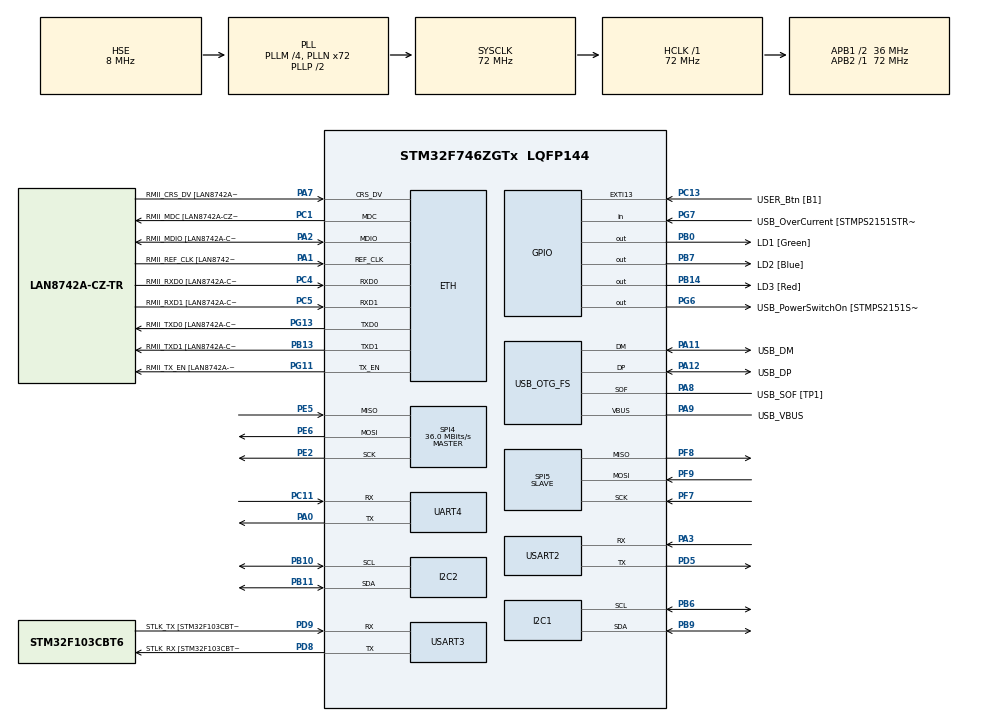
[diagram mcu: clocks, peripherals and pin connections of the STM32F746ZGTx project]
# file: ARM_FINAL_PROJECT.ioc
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Dma.I2C1_TX.0.Direction=DMA_MEMORY_TO_PERIPH
Dma.I2C1_TX.0.FIFOMode=DMA_FIFOMODE_DISABLE
Dma.I2C1_TX.0.Instance=DMA1_Stream7
Dma.I2C1_TX.0.MemDataAlignment=DMA_MDATAALIGN_BYTE
Dma.I2C1_TX.0.MemInc=DMA_MINC_ENABLE
Dma.I2C1_TX.0.Mode=DMA_NORMAL
Dma.I2C1_TX.0.PeriphDataAlignment=DMA_PDATAALIGN_BYTE
Dma.I2C1_TX.0.PeriphInc=DMA_PINC_DISABLE
Dma.I2C1_TX.0.Priority=DMA_PRIORITY_LOW
Dma.I2C2_RX.1.Direction=DMA_PERIPH_TO_MEMORY
Dma.I2C2_RX.1.FIFOMode=DMA_FIFOMODE_DISABLE
Dma.I2C2_RX.1.Instance=DMA1_Stream3
Dma.I2C2_RX.1.MemDataAlignment=DMA_MDATAALIGN_BYTE
Dma.I2C2_RX.1.MemInc=DMA_MINC_ENABLE
Dma.I2C2_RX.1.Mode=DMA_NORMAL
Dma.I2C2_RX.1.PeriphDataAlignment=DMA_PDATAALIGN_BYTE
Dma.I2C2_RX.1.PeriphInc=DMA_PINC_DISABLE
Dma.I2C2_RX.1.Priority=DMA_PRIORITY_LOW
Dma.Request0=I2C1_TX
Dma.Request1=I2C2_RX
Dma.Request2=SPI4_TX
Dma.Request3=SPI5_RX
Dma.Request4=UART4_RX
Dma.Request5=USART2_TX
Dma.SPI4_TX.2.Direction=DMA_MEMORY_TO_PERIPH
Dma.SPI4_TX.2.FIFOMode=DMA_FIFOMODE_DISABLE
Dma.SPI4_TX.2.Instance=DMA2_Stream1
Dma.SPI4_TX.2.MemDataAlignment=DMA_MDATAALIGN_BYTE
Dma.SPI4_TX.2.MemInc=DMA_MINC_ENABLE
Dma.SPI4_TX.2.Mode=DMA_NORMAL
Dma.SPI4_TX.2.PeriphDataAlignment=DMA_PDATAALIGN_BYTE
Dma.SPI4_TX.2.PeriphInc=DMA_PINC_DISABLE
Dma.SPI4_TX.2.Priority=DMA_PRIORITY_LOW
Dma.SPI5_RX.3.Direction=DMA_PERIPH_TO_MEMORY
Dma.SPI5_RX.3.FIFOMode=DMA_FIFOMODE_DISABLE
Dma.SPI5_RX.3.Instance=DMA2_Stream3
Dma.SPI5_RX.3.MemDataAlignment=DMA_MDATAALIGN_BYTE
Dma.SPI5_RX.3.MemInc=DMA_MINC_ENABLE
Dma.SPI5_RX.3.Mode=DMA_NORMAL
Dma.SPI5_RX.3.PeriphDataAlignment=DMA_PDATAALIGN_BYTE
Dma.SPI5_RX.3.PeriphInc=DMA_PINC_DISABLE
Dma.SPI5_RX.3.Priority=DMA_PRIORITY_LOW
Dma.UART4_RX.4.Direction=DMA_PERIPH_TO_MEMORY
Dma.UART4_RX.4.FIFOMode=DMA_FIFOMODE_DISABLE
Dma.UART4_RX.4.Instance=DMA1_Stream2
Dma.UART4_RX.4.MemDataAlignment=DMA_MDATAALIGN_BYTE
Dma.UART4_RX.4.MemInc=DMA_MINC_ENABLE
Dma.UART4_RX.4.Mode=DMA_NORMAL
Dma.UART4_RX.4.PeriphDataAlignment=DMA_PDATAALIGN_BYTE
Dma.UART4_RX.4.PeriphInc=DMA_PINC_DISABLE
Dma.UART4_RX.4.Priority=DMA_PRIORITY_LOW
Dma.USART2_TX.5.Direction=DMA_MEMORY_TO_PERIPH
Dma.USART2_TX.5.FIFOMode=DMA_FIFOMODE_DISABLE
Dma.USART2_TX.5.Instance=DMA1_Stream6
Dma.USART2_TX.5.MemDataAlignment=DMA_MDATAALIGN_BYTE
Dma.USART2_TX.5.MemInc=DMA_MINC_ENABLE
Dma.USART2_TX.5.Mode=DMA_NORMAL
Dma.USART2_TX.5.PeriphDataAlignment=DMA_PDATAALIGN_BYTE
Dma.USART2_TX.5.PeriphInc=DMA_PINC_DISABLE
Dma.USART2_TX.5.Priority=DMA_PRIORITY_LOW
ETH.MediaInterface=ETH_MEDIA_INTERFACE_RMII
ETH.PHY_Name=LAN8742A_PHY_ADDRESS
ETH.PHY_Value=0
ETH.PhyAddress=0
I2C1.Timing=0x00808CD2
I2C2.Timing=0x00808CD2
LWIP.GATEWAY_ADDRESS=192.168.001.001
LWIP.IP_ADDRESS=192.168.001.111
LWIP.LWIP_DHCP=0
LWIP.NETMASK_ADDRESS=255.255.255.000
LWIP.Version=v2.1.2_Cube
Mcu.Family=STM32F7
Mcu.Name=STM32F746ZGTx
Mcu.Package=LQFP144
NVIC.DMA1_Stream2_IRQn=true\:0\:0\:false\:false\:true\:false\:true
NVIC.DMA1_Stream3_IRQn=true\:0\:0\:false\:false\:true\:false\:true
NVIC.DMA1_Stream6_IRQn=true\:0\:0\:false\:false\:true\:false\:true
NVIC.DMA1_Stream7_IRQn=true\:0\:0\:false\:false\:true\:false\:true
NVIC.DMA2_Stream1_IRQn=true\:0\:0\:false\:false\:true\:false\:true
NVIC.DMA2_Stream3_IRQn=true\:0\:0\:false\:false\:true\:false\:true
NVIC.ETH_IRQn=true\:0\:0\:false\:false\:true\:true\:true
NVIC.I2C2_EV_IRQn=true\:0\:0\:false\:false\:true\:true\:true
NVIC.PriorityGroup=NVIC_PRIORITYGROUP_4
NVIC.SPI5_IRQn=true\:0\:0\:false\:false\:true\:true\:true
NVIC.UART4_IRQn=true\:0\:0\:false\:false\:true\:true\:true
PA0/WKUP.Mode=Asynchronous
PA0/WKUP.Signal=UART4_TX
PA1.GPIO_Label=RMII_REF_CLK [LAN8742A-CZ-TR_REFCLK0]
PA1.Mode=RMII
PA1.Signal=ETH_REF_CLK
PA10.GPIO_Label=USB_ID
PA10.Signal=USB_OTG_FS_ID
PA11.GPIO_Label=USB_DM
PA11.Mode=Device_Only
PA11.Signal=USB_OTG_FS_DM
PA12.GPIO_Label=USB_DP
PA12.Mode=Device_Only
PA12.Signal=USB_OTG_FS_DP
PA13.GPIO_Label=TMS
PA13.Mode=Serial_Wire
PA13.Signal=SYS_JTMS-SWDIO
PA14.GPIO_Label=TCK
PA14.Mode=Serial_Wire
PA14.Signal=SYS_JTCK-SWCLK
PA2.GPIO_Label=RMII_MDIO [LAN8742A-CZ-TR_MDIO]
PA2.Mode=RMII
PA2.Signal=ETH_MDIO
PA3.Mode=Asynchronous
PA3.Signal=USART2_RX
PA7.GPIO_Label=RMII_CRS_DV [LAN8742A-CZ-TR_CRS_DV]
PA7.Mode=RMII
PA7.Signal=ETH_CRS_DV
PA8.GPIO_Label=USB_SOF [TP1]
PA8.Mode=Activate_SOF_FS
PA8.Signal=USB_OTG_FS_SOF
PA9.GPIO_Label=USB_VBUS
PA9.Mode=Activate_VBUS
PA9.Signal=USB_OTG_FS_VBUS
PB0.GPIO_Label=LD1 [Green]
PB0.Signal=GPIO_Output
PB10.Mode=I2C
PB10.Signal=I2C2_SCL
PB11.Mode=I2C
PB11.Signal=I2C2_SDA
PB13.GPIO_Label=RMII_TXD1 [LAN8742A-CZ-TR_TXD1]
PB13.Mode=RMII
PB13.Signal=ETH_TXD1
PB14.GPIO_Label=LD3 [Red]
PB14.Signal=GPIO_Output
PB3.GPIO_Label=SW0
PB3.Signal=SYS_JTDO-SWO
PB6.Mode=I2C
PB6.Signal=I2C1_SCL
PB7.GPIO_Label=LD2 [Blue]
PB7.Signal=GPIO_Output
PB9.Mode=I2C
PB9.Signal=I2C1_SDA
PC1.GPIO_Label=RMII_MDC [LAN8742A-CZ-TR_MDC]
PC1.Mode=RMII
PC1.Signal=ETH_MDC
PC11.Mode=Asynchronous
PC11.Signal=UART4_RX
PC13.GPIO_Label=USER_Btn [B1]
PC13.Signal=GPXTI13
PC14/OSC32_IN.Mode=LSE-External-Oscillator
PC14/OSC32_IN.Signal=RCC_OSC32_IN
PC15/OSC32_OUT.Mode=LSE-External-Oscillator
PC15/OSC32_OUT.Signal=RCC_OSC32_OUT
PC4.GPIO_Label=RMII_RXD0 [LAN8742A-CZ-TR_RXD0]
PC4.Mode=RMII
PC4.Signal=ETH_RXD0
PC5.GPIO_Label=RMII_RXD1 [LAN8742A-CZ-TR_RXD1]
PC5.Mode=RMII
PC5.Signal=ETH_RXD1
PD5.Mode=Asynchronous
PD5.Signal=USART2_TX
PD8.GPIO_Label=STLK_RX [STM32F103CBT6_PA3]
PD8.Mode=Asynchronous
PD8.Signal=USART3_TX
PD9.GPIO_Label=STLK_TX [STM32F103CBT6_PA2]
PD9.Mode=Asynchronous
PD9.Signal=USART3_RX
PE2.Mode=Full_Duplex_Master
PE2.Signal=SPI4_SCK
PE5.Mode=Full_Duplex_Master
PE5.Signal=SPI4_MISO
PE6.Mode=Full_Duplex_Master
PE6.Signal=SPI4_MOSI
PF7.Mode=Full_Duplex_Slave
PF7.Signal=SPI5_SCK
PF8.Mode=Full_Duplex_Slave
PF8.Signal=SPI5_MISO
PF9.Mode=Full_Duplex_Slave
PF9.Signal=SPI5_MOSI
PG11.GPIO_Label=RMII_TX_EN [LAN8742A-CZ-TR_TXEN]
PG11.Mode=RMII
PG11.Signal=ETH_TX_EN
PG13.GPIO_Label=RMII_TXD0 [LAN8742A-CZ-TR_TXD0]
PG13.Mode=RMII
PG13.Signal=ETH_TXD0
PG6.GPIO_Label=USB_PowerSwitchOn [STMPS2151STR_EN]
PG6.Signal=GPIO_Output
PG7.GPIO_Label=USB_OverCurrent [STMPS2151STR_FAULT]
PG7.Signal=GPIO_Input
PH0/OSC_IN.GPIO_Label=MCO [STM32F103CBT6_PA8]
PH0/OSC_IN.Mode=HSE-External-Clock-Source
PH0/OSC_IN.Signal=RCC_OSC_IN
PH1/OSC_OUT.Mode=HSE-External-Clock-Source
PH1/OSC_OUT.Signal=RCC_OSC_OUT
ProjectManager.HeapSize=0x200
ProjectManager.StackSize=0x400
ProjectManager.TargetToolchain=STM32CubeIDE
RCC.48MHZClocksFreq_Value=24000000
RCC.AHBFreq_Value=72000000
RCC.APB1CLKDivider=RCC_HCLK_DIV2
RCC.APB1Freq_Value=36000000
RCC.APB1TimFreq_Value=72000000
RCC.APB2Freq_Value=72000000
RCC.APB2TimFreq_Value=72000000
RCC.CortexFreq_Value=72000000
RCC.HCLKFreq_Value=72000000
RCC.HSE_VALUE=8000000
RCC.HSI_VALUE=16000000
RCC.PLLM=4
RCC.PLLMUL=RCC_PLL_MUL9
RCC.PLLN=72
RCC.PLLQ=3
RCC.PRESCALERUSB=RCC_USBCLKSOURCE_PLL_DIV1_5
RCC.SYSCLKFreq_VALUE=72000000
RCC.SYSCLKSource=RCC_SYSCLKSOURCE_PLLCLK
RCC.SYSCLKSourceVirtual=RCC_SYSCLKSOURCE_PLLCLK
RCC.USBFreq_Value=48000000
RCC.VCOOutputFreq_Value=144000000
SPI4.CLKPolarity=SPI_POLARITY_HIGH
SPI4.CalculateBaudRate=36.0 MBits/s
SPI4.DataSize=SPI_DATASIZE_8BIT
SPI4.Direction=SPI_DIRECTION_2LINES
SPI4.Mode=SPI_MODE_MASTER
SPI4.VirtualType=VM_MASTER
SPI5.CLKPolarity=SPI_POLARITY_HIGH
SPI5.DataSize=SPI_DATASIZE_8BIT
SPI5.Direction=SPI_DIRECTION_2LINES
SPI5.Mode=SPI_MODE_SLAVE
SPI5.VirtualType=VM_SLAVE
USART2.VirtualMode-Asynchronous=VM_ASYNC
USART3.VirtualMode-Asynchronous=VM_ASYNC
USB_OTG_FS.VirtualMode=Device_Only
VP_LWIP_VS_Enabled.Mode=Enabled
board=NUCLEO-F746ZG

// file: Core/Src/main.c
/* USER CODE BEGIN Header */
/**
  ******************************************************************************
  * @file           : main.c
  * @brief          : Main program body
  ******************************************************************************
  * @attention
  *
  * <h2><center>&copy; Copyright (c) 2021 STMicroelectronics.
  * All rights reserved.</center></h2>
  *
  * This software component is licensed by ST under Ultimate Liberty license
  * SLA0044, the "License"; You may not use this file except in compliance with
  * the License. You may obtain a copy of the License at:
  *                             www.st.com/SLA0044
  *
  ******************************************************************************
  */
/* USER CODE END Header */
#include "main.h"
#include "lwip.h"

/* USER CODE BEGIN Includes */
#include "udp.h"
#include "ip_addr.h"
#include <stdio.h>
#include <string.h>
#include <inttypes.h>

#define PORT_NUM 50000
#define BUFFER_MAX_SIZE 20

typedef struct Recv_Packet
{
	uint16_t data_size;
	uint8_t message_id;
	uint8_t spare;
	uint8_t data_buffer[BUFFER_MAX_SIZE];
}Recv_Packet;

extern struct netif gnetif;
struct udp_pcb *conn;
ip_addr_t host_addr;

//Default value
char del[]=";";

struct pbuf *send_packet_uart4;
struct pbuf *send_packet_i2c;
struct pbuf *send_packet_spi;

uint8_t shared_buffer_uart[BUFFER_MAX_SIZE];
uint8_t shared_buffer_i2c[BUFFER_MAX_SIZE];
uint8_t shared_buffer_spi[BUFFER_MAX_SIZE];

uint8_t is_message=0;

uint8_t uart_callback=0;
uint8_t i2c_callback=0;
uint8_t spi_callback=0;

uint8_t is_uart=0;
uint8_t is_i2c=0;
uint8_t is_spi=0;

/* USER CODE END Includes */

I2C_HandleTypeDef hi2c1;
I2C_HandleTypeDef hi2c2;
DMA_HandleTypeDef hdma_i2c1_tx;
DMA_HandleTypeDef hdma_i2c2_rx;

SPI_HandleTypeDef hspi4;
SPI_HandleTypeDef hspi5;
DMA_HandleTypeDef hdma_spi4_tx;
DMA_HandleTypeDef hdma_spi5_rx;

UART_HandleTypeDef huart4;
UART_HandleTypeDef huart2;
UART_HandleTypeDef huart3;
DMA_HandleTypeDef hdma_uart4_rx;
DMA_HandleTypeDef hdma_usart2_tx;

PCD_HandleTypeDef hpcd_USB_OTG_FS;

void SystemClock_Config(void);
static void MX_GPIO_Init(void);
static void MX_DMA_Init(void);
static void MX_I2C1_Init(void);
static void MX_USART3_UART_Init(void);
static void MX_USB_OTG_FS_PCD_Init(void);
static void MX_I2C2_Init(void);
static void MX_SPI4_Init(void);
static void MX_SPI5_Init(void);
static void MX_UART4_Init(void);
static void MX_USART2_UART_Init(void);
/* USER CODE BEGIN PFP */
static void udp_echoserver_recv(void *arg, struct udp_pcb *upcb, struct pbuf *p,const ip_addr_t *addr, u16_t port);
/* USER CODE END PFP */

/* USER CODE BEGIN 0 */
int __io_putchar(int ch)
{
	HAL_UART_Transmit(&huart3, (uint8_t *)&ch, 1, 0xFFFF);
	return ch;
}
/* USER CODE END 0 */

int main(void)
{

  /* MCU Configuration--------------------------------------------------------*/

  /* Reset of all peripherals, Initializes the Flash interface and the Systick. */
  HAL_Init();

  /* Configure the system clock */
  SystemClock_Config();

  /* Initialize all configured peripherals */
  MX_GPIO_Init();
  MX_DMA_Init();
  MX_I2C1_Init();
  MX_USART3_UART_Init();
  MX_USB_OTG_FS_PCD_Init();
  MX_I2C2_Init();
  MX_SPI4_Init();
  MX_SPI5_Init();
  MX_UART4_Init();
  MX_USART2_UART_Init();
  MX_LWIP_Init();
  /* USER CODE BEGIN 2 */
  conn=udp_new();
  udp_bind(conn, IP_ANY_TYPE, PORT_NUM);

  //UART (UART-4) receive data from UART (UART-2)
  HAL_UART_Receive_DMA(&huart4, shared_buffer_uart, BUFFER_MAX_SIZE);
  //Slave (I2C-2) receive data from Master (I2C-1)
  HAL_I2C_Slave_Receive_DMA(&hi2c2, shared_buffer_i2c, BUFFER_MAX_SIZE);
  //Slave (SPI5) receive data from Master (SPI4)
  HAL_SPI_Receive_DMA(&hspi5, shared_buffer_spi, BUFFER_MAX_SIZE);

  udp_recv(conn, udp_echoserver_recv, NULL);
  /* USER CODE END 2 */

  /* Infinite loop */
  /* USER CODE BEGIN WHILE */
  while (1)
  {

	  if(uart_callback)
	  {
		  printf("Data successfully transfered from UART2 to UART4\r\n");
		  printf("Data received: %s\r\n",shared_buffer_uart);

		  printf("Sending packet back to PC\r\n");

		  //Allocating a p buffer to send
		  send_packet_uart4=pbuf_alloc(PBUF_TRANSPORT, strlen((char*)shared_buffer_uart)+1, PBUF_RAM);
		  memcpy(send_packet_uart4->payload,"1",1);//msg id(UART4==1)
		  memcpy(send_packet_uart4->payload+1,del,1);//;
		  memcpy(send_packet_uart4->payload+2,shared_buffer_uart,strlen((char*)shared_buffer_uart));//data

		  //Send packet back to PC
		  udp_sendto(conn, send_packet_uart4, &host_addr, PORT_NUM);
		  pbuf_free(send_packet_uart4); //release packet resource

		  HAL_UART_Receive_DMA(&huart4, shared_buffer_uart, BUFFER_MAX_SIZE);
		  uart_callback=0;
		  is_uart=0;
	  }
	  if(i2c_callback)
	  {
		  printf("Data successfully transfered from I2C-1 to I2C-2\r\n");
		  printf("Data received: %s\r\n",shared_buffer_i2c);

		  //Allocating a p buffer to send
		  send_packet_i2c=pbuf_alloc(PBUF_TRANSPORT, strlen((char*)shared_buffer_i2c)+1, PBUF_RAM);
		  memcpy(send_packet_i2c->payload,"2",1);//msg id(i2c==2)
		  memcpy(send_packet_i2c->payload+1,del,1);//;
		  memcpy(send_packet_i2c->payload+2,shared_buffer_i2c,strlen((char*)shared_buffer_i2c));//data

		  //Send packet back to PC
		  udp_sendto(conn, send_packet_i2c, &host_addr, PORT_NUM);
		  pbuf_free(send_packet_i2c); //release packet resource

	  	  HAL_I2C_Slave_Receive_DMA(&hi2c2, shared_buffer_i2c, BUFFER_MAX_SIZE);
	  	  i2c_callback=0;
	  	  is_i2c=0;
	  }
	  if(spi_callback)
	  {
		  printf("Data successfully transfered from SPI1 to SPI2\r\n");
		  printf("Data received: %s\r\n",shared_buffer_spi);

		  //Allocating a p buffer to send
		  send_packet_spi=pbuf_alloc(PBUF_TRANSPORT, strlen((char*)shared_buffer_spi)+1, PBUF_RAM);
		  memcpy(send_packet_spi->payload,"3",1);//msg id(spi==3)
		  memcpy(send_packet_spi->payload+1,del,1);//;
		  memcpy(send_packet_spi->payload+2,shared_buffer_spi,strlen((char*)shared_buffer_spi));//data

		  //Send packet back to PC
		  udp_sendto(conn, send_packet_spi, &host_addr, PORT_NUM);
		  pbuf_free(send_packet_spi); //release packet resource

		  HAL_SPI_Receive_DMA(&hspi5, shared_buffer_spi, BUFFER_MAX_SIZE);
	  	  spi_callback=0;
	  	  is_spi=0;
	  }

	  //Check for incoming packet
	  ethernetif_input(&gnetif);

    /* USER CODE END WHILE */

  }
}

void SystemClock_Config(void)
{
  RCC_OscInitTypeDef RCC_OscInitStruct = {0};
  RCC_ClkInitTypeDef RCC_ClkInitStruct = {0};
  RCC_PeriphCLKInitTypeDef PeriphClkInitStruct = {0};

  /** Configure LSE Drive Capability
  */
  HAL_PWR_EnableBkUpAccess();
  /** Configure the main internal regulator output voltage
  */
  __HAL_RCC_PWR_CLK_ENABLE();
  __HAL_PWR_VOLTAGESCALING_CONFIG(PWR_REGULATOR_VOLTAGE_SCALE3);
  /** Initializes the RCC Oscillators according to the specified parameters
  * in the RCC_OscInitTypeDef structure.
  */
  RCC_OscInitStruct.OscillatorType = RCC_OSCILLATORTYPE_HSE;
  RCC_OscInitStruct.HSEState = RCC_HSE_BYPASS;
  RCC_OscInitStruct.PLL.PLLState = RCC_PLL_ON;
  RCC_OscInitStruct.PLL.PLLSource = RCC_PLLSOURCE_HSE;
  RCC_OscInitStruct.PLL.PLLM = 4;
  RCC_OscInitStruct.PLL.PLLN = 72;
  RCC_OscInitStruct.PLL.PLLP = RCC_PLLP_DIV2;
  RCC_OscInitStruct.PLL.PLLQ = 3;
  if (HAL_RCC_OscConfig(&RCC_OscInitStruct) != HAL_OK)
  {
    Error_Handler();
  }
  /** Initializes the CPU, AHB and APB buses clocks
  */
  RCC_ClkInitStruct.ClockType = RCC_CLOCKTYPE_HCLK|RCC_CLOCKTYPE_SYSCLK
                              |RCC_CLOCKTYPE_PCLK1|RCC_CLOCKTYPE_PCLK2;
  RCC_ClkInitStruct.SYSCLKSource = RCC_SYSCLKSOURCE_PLLCLK;
  RCC_ClkInitStruct.AHBCLKDivider = RCC_SYSCLK_DIV1;
  RCC_ClkInitStruct.APB1CLKDivider = RCC_HCLK_DIV2;
  RCC_ClkInitStruct.APB2CLKDivider = RCC_HCLK_DIV1;

  if (HAL_RCC_ClockConfig(&RCC_ClkInitStruct, FLASH_LATENCY_2) != HAL_OK)
  {
    Error_Handler();
  }
  PeriphClkInitStruct.PeriphClockSelection = RCC_PERIPHCLK_USART2|RCC_PERIPHCLK_USART3
                              |RCC_PERIPHCLK_UART4|RCC_PERIPHCLK_I2C1
                              |RCC_PERIPHCLK_I2C2|RCC_PERIPHCLK_CLK48;
  PeriphClkInitStruct.Usart2ClockSelection = RCC_USART2CLKSOURCE_PCLK1;
  PeriphClkInitStruct.Usart3ClockSelection = RCC_USART3CLKSOURCE_PCLK1;
  PeriphClkInitStruct.Uart4ClockSelection = RCC_UART4CLKSOURCE_PCLK1;
  PeriphClkInitStruct.I2c1ClockSelection = RCC_I2C1CLKSOURCE_PCLK1;
  PeriphClkInitStruct.I2c2ClockSelection = RCC_I2C2CLKSOURCE_PCLK1;
  PeriphClkInitStruct.Clk48ClockSelection = RCC_CLK48SOURCE_PLL;
  if (HAL_RCCEx_PeriphCLKConfig(&PeriphClkInitStruct) != HAL_OK)
  {
    Error_Handler();
  }
}

static void MX_I2C1_Init(void)
{

  hi2c1.Instance = I2C1;
  hi2c1.Init.Timing = 0x00808CD2;
  hi2c1.Init.OwnAddress1 = 0;
  hi2c1.Init.AddressingMode = I2C_ADDRESSINGMODE_7BIT;
  hi2c1.Init.DualAddressMode = I2C_DUALADDRESS_DISABLE;
  hi2c1.Init.OwnAddress2 = 0;
  hi2c1.Init.OwnAddress2Masks = I2C_OA2_NOMASK;
  hi2c1.Init.GeneralCallMode = I2C_GENERALCALL_DISABLE;
  hi2c1.Init.NoStretchMode = I2C_NOSTRETCH_DISABLE;
  if (HAL_I2C_Init(&hi2c1) != HAL_OK)
  {
    Error_Handler();
  }
  /** Configure Analogue filter
  */
  if (HAL_I2CEx_ConfigAnalogFilter(&hi2c1, I2C_ANALOGFILTER_ENABLE) != HAL_OK)
  {
    Error_Handler();
  }
  /** Configure Digital filter
  */
  if (HAL_I2CEx_ConfigDigitalFilter(&hi2c1, 0) != HAL_OK)
  {
    Error_Handler();
  }

}

static void MX_I2C2_Init(void)
{

  hi2c2.Instance = I2C2;
  hi2c2.Init.Timing = 0x00808CD2;
  hi2c2.Init.OwnAddress1 = 22;
  hi2c2.Init.AddressingMode = I2C_ADDRESSINGMODE_7BIT;
  hi2c2.Init.DualAddressMode = I2C_DUALADDRESS_DISABLE;
  hi2c2.Init.OwnAddress2 = 0;
  hi2c2.Init.OwnAddress2Masks = I2C_OA2_NOMASK;
  hi2c2.Init.GeneralCallMode = I2C_GENERALCALL_DISABLE;
  hi2c2.Init.NoStretchMode = I2C_NOSTRETCH_DISABLE;
  if (HAL_I2C_Init(&hi2c2) != HAL_OK)
  {
    Error_Handler();
  }
  /** Configure Analogue filter
  */
  if (HAL_I2CEx_ConfigAnalogFilter(&hi2c2, I2C_ANALOGFILTER_ENABLE) != HAL_OK)
  {
    Error_Handler();
  }
  /** Configure Digital filter
  */
  if (HAL_I2CEx_ConfigDigitalFilter(&hi2c2, 0) != HAL_OK)
  {
    Error_Handler();
  }

}

static void MX_SPI4_Init(void)
{

  /* SPI4 parameter configuration*/
  hspi4.Instance = SPI4;
  hspi4.Init.Mode = SPI_MODE_MASTER;
  hspi4.Init.Direction = SPI_DIRECTION_2LINES;
  hspi4.Init.DataSize = SPI_DATASIZE_8BIT;
  hspi4.Init.CLKPolarity = SPI_POLARITY_HIGH;
  hspi4.Init.CLKPhase = SPI_PHASE_1EDGE;
  hspi4.Init.NSS = SPI_NSS_SOFT;
  hspi4.Init.BaudRatePrescaler = SPI_BAUDRATEPRESCALER_2;
  hspi4.Init.FirstBit = SPI_FIRSTBIT_MSB;
  hspi4.Init.TIMode = SPI_TIMODE_DISABLE;
  hspi4.Init.CRCCalculation = SPI_CRCCALCULATION_DISABLE;
  hspi4.Init.CRCPolynomial = 7;
  hspi4.Init.CRCLength = SPI_CRC_LENGTH_DATASIZE;
  hspi4.Init.NSSPMode = SPI_NSS_PULSE_ENABLE;
  if (HAL_SPI_Init(&hspi4) != HAL_OK)
  {
    Error_Handler();
  }

}

static void MX_SPI5_Init(void)
{

  /* SPI5 parameter configuration*/
  hspi5.Instance = SPI5;
  hspi5.Init.Mode = SPI_MODE_SLAVE;
  hspi5.Init.Direction = SPI_DIRECTION_2LINES;
  hspi5.Init.DataSize = SPI_DATASIZE_8BIT;
  hspi5.Init.CLKPolarity = SPI_POLARITY_HIGH;
  hspi5.Init.CLKPhase = SPI_PHASE_1EDGE;
  hspi5.Init.NSS = SPI_NSS_SOFT;
  hspi5.Init.FirstBit = SPI_FIRSTBIT_MSB;
  hspi5.Init.TIMode = SPI_TIMODE_DISABLE;
  hspi5.Init.CRCCalculation = SPI_CRCCALCULATION_DISABLE;
  hspi5.Init.CRCPolynomial = 7;
  hspi5.Init.CRCLength = SPI_CRC_LENGTH_DATASIZE;
  hspi5.Init.NSSPMode = SPI_NSS_PULSE_DISABLE;
  if (HAL_SPI_Init(&hspi5) != HAL_OK)
  {
    Error_Handler();
  }

}

static void MX_UART4_Init(void)
{

  huart4.Instance = UART4;
  huart4.Init.BaudRate = 115200;
  huart4.Init.WordLength = UART_WORDLENGTH_8B;
  huart4.Init.StopBits = UART_STOPBITS_1;
  huart4.Init.Parity = UART_PARITY_NONE;
  huart4.Init.Mode = UART_MODE_TX_RX;
  huart4.Init.HwFlowCtl = UART_HWCONTROL_NONE;
  huart4.Init.OverSampling = UART_OVERSAMPLING_16;
  huart4.Init.OneBitSampling = UART_ONE_BIT_SAMPLE_DISABLE;
  huart4.AdvancedInit.AdvFeatureInit = UART_ADVFEATURE_NO_INIT;
  if (HAL_UART_Init(&huart4) != HAL_OK)
  {
    Error_Handler();
  }

}

static void MX_USART2_UART_Init(void)
{

  huart2.Instance = USART2;
  huart2.Init.BaudRate = 115200;
  huart2.Init.WordLength = UART_WORDLENGTH_8B;
  huart2.Init.StopBits = UART_STOPBITS_1;
  huart2.Init.Parity = UART_PARITY_NONE;
  huart2.Init.Mode = UART_MODE_TX_RX;
  huart2.Init.HwFlowCtl = UART_HWCONTROL_NONE;
  huart2.Init.OverSampling = UART_OVERSAMPLING_16;
  huart2.Init.OneBitSampling = UART_ONE_BIT_SAMPLE_DISABLE;
  huart2.AdvancedInit.AdvFeatureInit = UART_ADVFEATURE_NO_INIT;
  if (HAL_UART_Init(&huart2) != HAL_OK)
  {
    Error_Handler();
  }

}

static void MX_USART3_UART_Init(void)
{

  huart3.Instance = USART3;
  huart3.Init.BaudRate = 115200;
  huart3.Init.WordLength = UART_WORDLENGTH_8B;
  huart3.Init.StopBits = UART_STOPBITS_1;
  huart3.Init.Parity = UART_PARITY_NONE;
  huart3.Init.Mode = UART_MODE_TX_RX;
  huart3.Init.HwFlowCtl = UART_HWCONTROL_NONE;
  huart3.Init.OverSampling = UART_OVERSAMPLING_16;
  huart3.Init.OneBitSampling = UART_ONE_BIT_SAMPLE_DISABLE;
  huart3.AdvancedInit.AdvFeatureInit = UART_ADVFEATURE_NO_INIT;
  if (HAL_UART_Init(&huart3) != HAL_OK)
  {
    Error_Handler();
  }

}

static void MX_USB_OTG_FS_PCD_Init(void)
{

  hpcd_USB_OTG_FS.Instance = USB_OTG_FS;
  hpcd_USB_OTG_FS.Init.dev_endpoints = 6;
  hpcd_USB_OTG_FS.Init.speed = PCD_SPEED_FULL;
  hpcd_USB_OTG_FS.Init.dma_enable = DISABLE;
  hpcd_USB_OTG_FS.Init.phy_itface = PCD_PHY_EMBEDDED;
  hpcd_USB_OTG_FS.Init.Sof_enable = ENABLE;
  hpcd_USB_OTG_FS.Init.low_power_enable = DISABLE;
  hpcd_USB_OTG_FS.Init.lpm_enable = DISABLE;
  hpcd_USB_OTG_FS.Init.vbus_sensing_enable = ENABLE;
  hpcd_USB_OTG_FS.Init.use_dedicated_ep1 = DISABLE;
  if (HAL_PCD_Init(&hpcd_USB_OTG_FS) != HAL_OK)
  {
    Error_Handler();
  }

}

static void MX_DMA_Init(void)
{

  /* DMA controller clock enable */
  __HAL_RCC_DMA1_CLK_ENABLE();
  __HAL_RCC_DMA2_CLK_ENABLE();

  /* DMA interrupt init */
  /* DMA1_Stream2_IRQn interrupt configuration */
  HAL_NVIC_SetPriority(DMA1_Stream2_IRQn, 0, 0);
  HAL_NVIC_EnableIRQ(DMA1_Stream2_IRQn);
  /* DMA1_Stream3_IRQn interrupt configuration */
  HAL_NVIC_SetPriority(DMA1_Stream3_IRQn, 0, 0);
  HAL_NVIC_EnableIRQ(DMA1_Stream3_IRQn);
  /* DMA1_Stream6_IRQn interrupt configuration */
  HAL_NVIC_SetPriority(DMA1_Stream6_IRQn, 0, 0);
  HAL_NVIC_EnableIRQ(DMA1_Stream6_IRQn);
  /* DMA1_Stream7_IRQn interrupt configuration */
  HAL_NVIC_SetPriority(DMA1_Stream7_IRQn, 0, 0);
  HAL_NVIC_EnableIRQ(DMA1_Stream7_IRQn);
  /* DMA2_Stream1_IRQn interrupt configuration */
  HAL_NVIC_SetPriority(DMA2_Stream1_IRQn, 0, 0);
  HAL_NVIC_EnableIRQ(DMA2_Stream1_IRQn);
  /* DMA2_Stream3_IRQn interrupt configuration */
  HAL_NVIC_SetPriority(DMA2_Stream3_IRQn, 0, 0);
  HAL_NVIC_EnableIRQ(DMA2_Stream3_IRQn);

}

static void MX_GPIO_Init(void)
{
  GPIO_InitTypeDef GPIO_InitStruct = {0};

  /* GPIO Ports Clock Enable */
  __HAL_RCC_GPIOE_CLK_ENABLE();
  __HAL_RCC_GPIOC_CLK_ENABLE();
  __HAL_RCC_GPIOF_CLK_ENABLE();
  __HAL_RCC_GPIOH_CLK_ENABLE();
  __HAL_RCC_GPIOA_CLK_ENABLE();
  __HAL_RCC_GPIOB_CLK_ENABLE();
  __HAL_RCC_GPIOD_CLK_ENABLE();
  __HAL_RCC_GPIOG_CLK_ENABLE();

  /*Configure GPIO pin Output Level */
  HAL_GPIO_WritePin(GPIOB, LD1_Pin|LD3_Pin|LD2_Pin, GPIO_PIN_RESET);

  /*Configure GPIO pin Output Level */
  HAL_GPIO_WritePin(USB_PowerSwitchOn_GPIO_Port, USB_PowerSwitchOn_Pin, GPIO_PIN_RESET);

  /*Configure GPIO pin : USER_Btn_Pin */
  GPIO_InitStruct.Pin = USER_Btn_Pin;
  GPIO_InitStruct.Mode = GPIO_MODE_IT_RISING;
  GPIO_InitStruct.Pull = GPIO_NOPULL;
  HAL_GPIO_Init(USER_Btn_GPIO_Port, &GPIO_InitStruct);

  /*Configure GPIO pins : LD1_Pin LD3_Pin LD2_Pin */
  GPIO_InitStruct.Pin = LD1_Pin|LD3_Pin|LD2_Pin;
  GPIO_InitStruct.Mode = GPIO_MODE_OUTPUT_PP;
  GPIO_InitStruct.Pull = GPIO_NOPULL;
  GPIO_InitStruct.Speed = GPIO_SPEED_FREQ_LOW;
  HAL_GPIO_Init(GPIOB, &GPIO_InitStruct);

  /*Configure GPIO pin : USB_PowerSwitchOn_Pin */
  GPIO_InitStruct.Pin = USB_PowerSwitchOn_Pin;
  GPIO_InitStruct.Mode = GPIO_MODE_OUTPUT_PP;
  GPIO_InitStruct.Pull = GPIO_NOPULL;
  GPIO_InitStruct.Speed = GPIO_SPEED_FREQ_LOW;
  HAL_GPIO_Init(USB_PowerSwitchOn_GPIO_Port, &GPIO_InitStruct);

  /*Configure GPIO pin : USB_OverCurrent_Pin */
  GPIO_InitStruct.Pin = USB_OverCurrent_Pin;
  GPIO_InitStruct.Mode = GPIO_MODE_INPUT;
  GPIO_InitStruct.Pull = GPIO_NOPULL;
  HAL_GPIO_Init(USB_OverCurrent_GPIO_Port, &GPIO_InitStruct);

}

/* USER CODE BEGIN 4 */
void HAL_UART_RxCpltCallback(UART_HandleTypeDef *huart)
{
	//UART Callback
	uart_callback=1;
}
void HAL_I2C_SlaveRxCpltCallback(I2C_HandleTypeDef *hi2c)
{
	//I2C Callback
	i2c_callback=1;
}
void HAL_SPI_RxCpltCallback(SPI_HandleTypeDef *hspi)
{
	//SPI Callback
	spi_callback=1;
}

static void udp_echoserver_recv(void *arg, struct udp_pcb *upcb, struct pbuf *p,const ip_addr_t *addr, u16_t port)
{
	Recv_Packet recv_packet;

		if(!is_message)
		{
			is_message=1;
			//Copy the given message to our buffer
			//Copy data_size (2B)
			memcpy(&recv_packet.data_size,p->payload,2);
			//Copy protocol type (1B)
			memcpy(&recv_packet.message_id,p->payload+2,1);
			//Copy spare variable (1B) =>used it as a checksum for sending back to host
			memcpy(&recv_packet.spare,p->payload+3,1);
			//Copy Data (data_size in bytes)
			memcpy(&recv_packet.data_buffer,p->payload+4,recv_packet.data_size);
			host_addr=*addr;
			pbuf_free(p);

			if(recv_packet.message_id==1) //UART
			{
				if(!is_uart)
				{
					printf("[Packet received] Protocol:UART , Data:%s\r\n",recv_packet.data_buffer);
					printf("Transmitting data through UART2 to UART4\r\n");
					HAL_UART_Transmit(&huart2, recv_packet.data_buffer, BUFFER_MAX_SIZE, HAL_MAX_DELAY);
					is_uart=1;
				}

			}
			else if(recv_packet.message_id==2) //I2C
			{
				if(!is_i2c)
				{
					printf("[Packet received] Protocol:I2C , Data:%s\r\n",recv_packet.data_buffer);
					printf("Transmitting data from MASTER(I2C-1) to SLAVE(I2C-2)\r\n");
					HAL_I2C_Master_Transmit(&hi2c1, 22, recv_packet.data_buffer, BUFFER_MAX_SIZE, HAL_MAX_DELAY);
					is_i2c=1;
				}
			}
			else if(recv_packet.message_id==3) //SPI
			{
				if(!is_spi)
				{
					printf("[Packet received] Protocol:SPI , Data:%s\r\n",recv_packet.data_buffer);
					printf("Transmitting data from MASTER(SPI1) to SLAVE(SPI2)\r\n");
					HAL_SPI_Transmit(&hspi4, recv_packet.data_buffer, BUFFER_MAX_SIZE, HAL_MAX_DELAY);
					is_spi=1;
				}

			}
			else
			{
				printf("Err - Unknown packet\r\n");
			}

			is_message=0;

		}

}

/* USER CODE END 4 */

void Error_Handler(void)
{
  __disable_irq();
  while (1)
  {
  }
}

/************************ (C) COPYRIGHT STMicroelectronics *****END OF FILE****/
